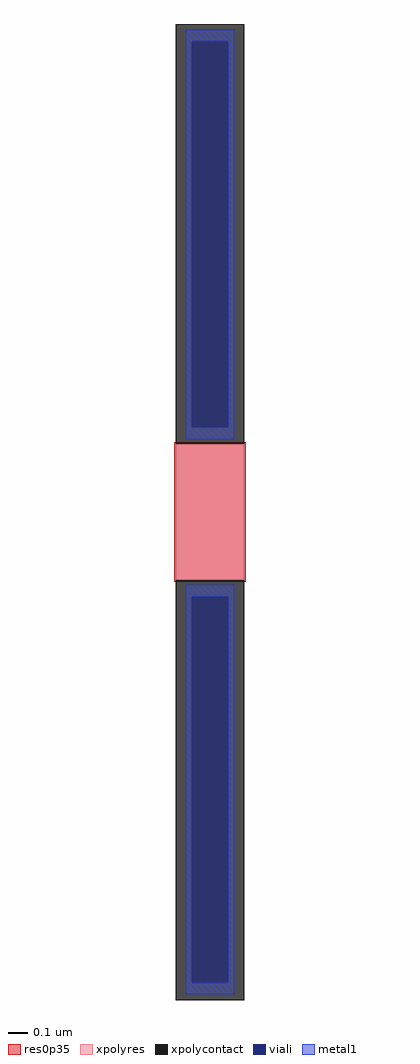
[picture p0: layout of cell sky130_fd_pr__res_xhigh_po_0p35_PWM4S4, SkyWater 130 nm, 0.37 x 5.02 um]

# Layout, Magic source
magic
tech sky130A
magscale 1 2
<< xpolycontact >>
rect -35 70 35 502
rect -35 -502 35 -70
<< xpolyres >>
rect -35 -70 35 70
<< viali >>
rect -19 87 19 484
rect -19 -484 19 -87
<< metal1 >>
rect -25 484 25 496
rect -25 87 -19 484
rect 19 87 25 484
rect -25 75 25 87
rect -25 -87 25 -75
rect -25 -484 -19 -87
rect 19 -484 25 -87
rect -25 -496 25 -484
<< res0p35 >>
rect -37 -72 37 72
<< properties >>
string gencell sky130_fd_pr__res_xhigh_po_0p35
string library sky130
string parameters w 0.350 l 0.7 m 1 nx 1 wmin 0.350 lmin 0.50 rho 2000 val 5.075k dummy 0 dw 0.0 term 188.2 sterm 0.0 caplen 0 wmax 0.350 guard 0 glc 1 grc 1 gtc 1 gbc 1 compatible {sky130_fd_pr__res_xhigh_po_0p35  sky130_fd_pr__res_xhigh_po_0p69 sky130_fd_pr__res_xhigh_po_1p41  sky130_fd_pr__res_xhigh_po_2p85 sky130_fd_pr__res_xhigh_po_5p73} snake 0 full_metal 0 n_guard 0 hv_guard 0 vias 1 viagb 0 viagt 0 viagl 0 viagr 0
<< end >>
